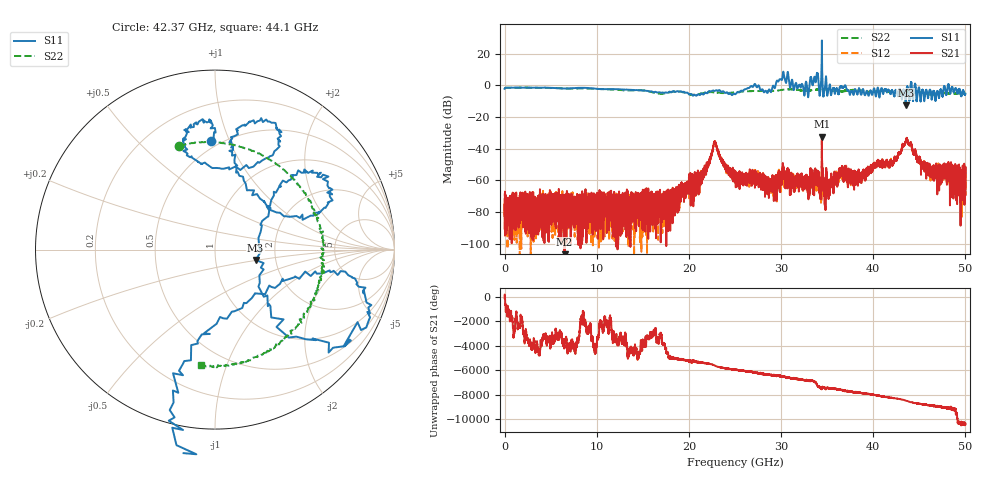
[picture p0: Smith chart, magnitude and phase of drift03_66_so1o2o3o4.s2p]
!Created with skrf (http://scikit-rf.org).
# Hz S RI R 50.0
!freq ReS11 ImS11 ReS21 ImS21 ReS12 ImS12 ReS22 ImS22
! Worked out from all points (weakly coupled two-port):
!   10000 points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, 5.3 MHz to 50 GHz, reference 50 ohm
!   highest |S21| = -32.35 dB at 34.43 GHz (marker M1); lowest = -112.7 dB at 6.505 GHz (marker M2)
!   lowest |S11| = -12.6 dB at 43.53 GHz (marker M3), VSWR 1.61, Z = 78.5 - j9.62 ohm
!   |S11| at or under -10 dB: 43.48378 GHz to 43.55896 GHz (75.18 MHz wide, 0.173 % of centre); 44.70937 GHz to 44.71027 GHz (903.5 kHz wide, 0.00202 % of centre); 45.13692 GHz to 45.14149 GHz (4.561 MHz wide, 0.0101 % of centre)
!   |S22| runs from -5.9 to -1.3 dB; largest |S21 - S12| = 0.0075
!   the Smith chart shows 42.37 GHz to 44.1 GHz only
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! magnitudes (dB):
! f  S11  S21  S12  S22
! 5.3 MHz  -2.1  -90.4  -77.8  -2.1
! 6.505 GHz  -1.9  -112.7  -73.3  -1.9
! 8.34 GHz  -1.5  -74.5  -77.7  -1.9
! 16.67 GHz  -4.4  -71.6  -68.6  -5.2
! 21.27 GHz  -5.6  -57.8  -57.0  -5.2
! 22.81 GHz  -3.5  -35.4  -35.3  -4.4
! 25.01 GHz  -5.5  -56.2  -57.5  -4.3
! 27.02 GHz  -0.3  -56.2  -56.5  -3.5
! 28.72 GHz  -2.5  -66.4  -62.3  -3.6
! 30.14 GHz  4.4  -56.5  -60.4  -2.8
! 32.74 GHz  2.0  -59.4  -58.8  -3.3
! 33.34 GHz  2.6  -56.2  -62.9  -2.9
! 33.82 GHz  4.0  -57.3  -59.4  -2.5
! 34.43 GHz  28.4  -32.3  -32.9  -2.2
! 35.24 GHz  -0.9  -62.0  -63.1  -2.6
! 36.45 GHz  -0.7  -55.4  -53.3  -3.7
! 38.13 GHz  -3.1  -61.8  -57.2  -2.9
! 41.67 GHz  -2.9  -49.7  -50.0  -3.7
! 43.53 GHz  -12.6  -35.3  -35.2  -4.2
! 46.36 GHz  -8.5  -53.0  -55.2  -5.4
! 49.72 GHz  -3.2  -56.5  -64.3  -5.1
! 50 GHz  -5.2  -51.9  -53.8  -4.9
